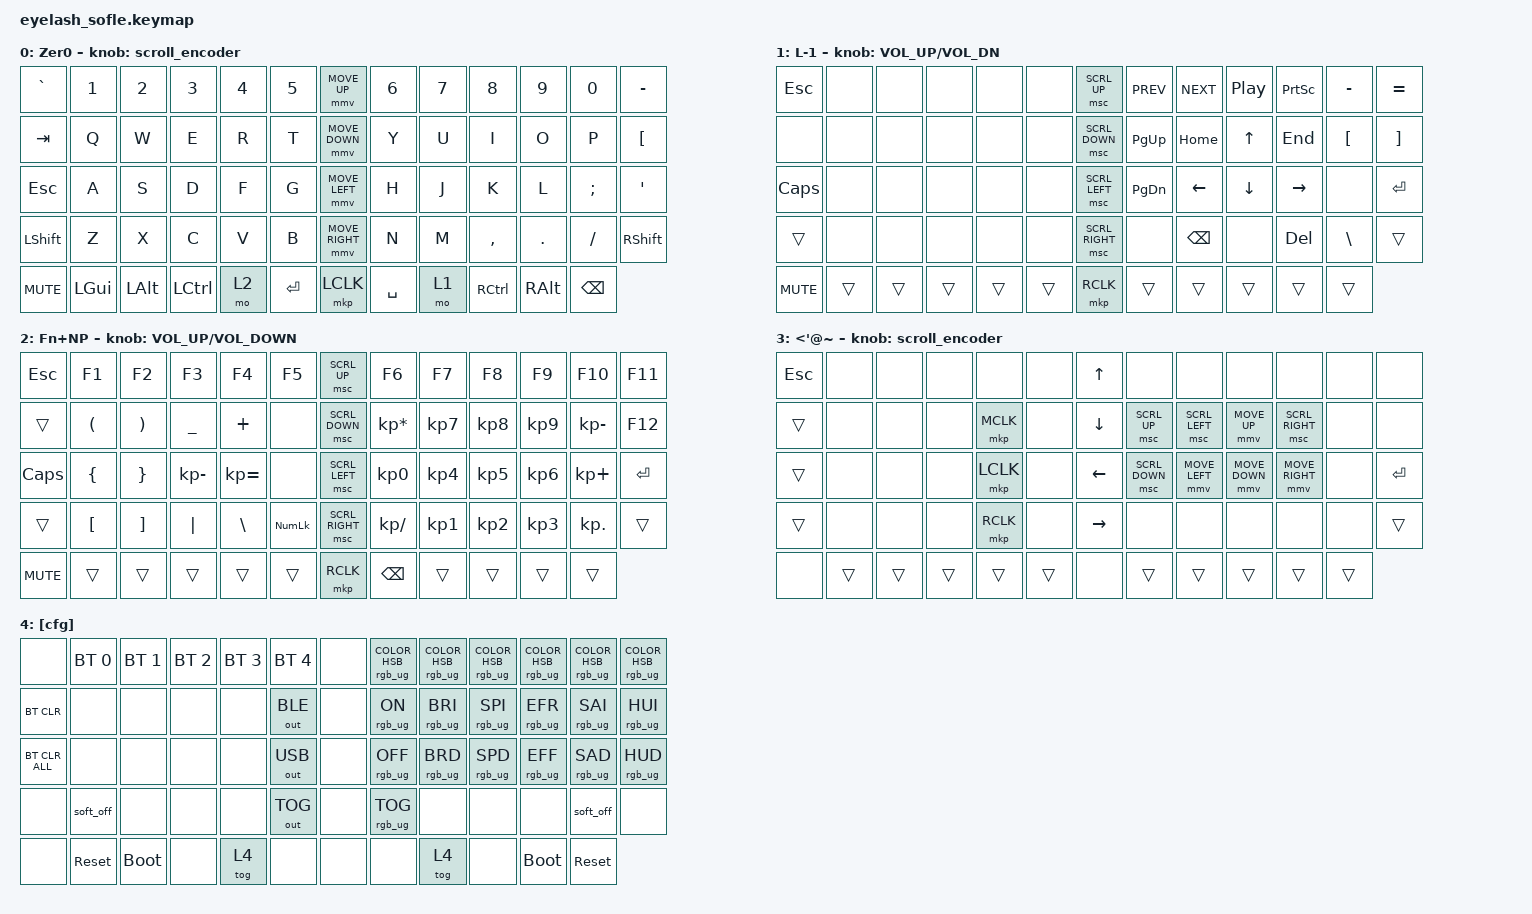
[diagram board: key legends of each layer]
#define ZMK_POINTING_DEFAULT_MOVE_VAL 700  // 600
#define ZMK_POINTING_DEFAULT_SCRL_VAL 15    // 10

#include <input/processors.dtsi>
#include <zephyr/dt-bindings/input/input-event-codes.h>
#include <behaviors.dtsi>
#include <dt-bindings/zmk/bt.h>
#include <dt-bindings/zmk/keys.h>
#include <dt-bindings/zmk/outputs.h>
#include <dt-bindings/zmk/pointing.h>
#include <dt-bindings/zmk/rgb.h>

/ {
    zip_scroll_scaler: zip_scroll_scaler {
        compatible = "zmk,input-processor-scaler";
        #input-processor-cells = <2>;
        type = <INPUT_EV_REL>;
        codes = <INPUT_REL_WHEEL INPUT_REL_HWHEEL>;
        track-remainders;
    };
};

&mmv_input_listener { input-processors = <&zip_xy_scaler 2 1>; };

&msc_input_listener { input-processors = <&zip_scroll_scaler 2 1>; };

&mmv {
    acceleration-exponent = <1>;
    time-to-max-speed-ms = <600>;
};

&msc {
    acceleration-exponent = <0>;      // 0
    time-to-max-speed-ms = <300>;     // 300
    delay-ms = <0>;                   // 0
};

/ {
    scroll_encoder: scroll_encoder {
        compatible = "zmk,behavior-sensor-rotate";
        #sensor-binding-cells = <0>;
        bindings = <&msc SCRL_DOWN>, <&msc SCRL_UP>;

        tap-ms = <100>;
    };

    conditional_layers {
        compatible = "zmk,conditional-layers";

        to-numpad {
            if-layers = <1 2>;
            then-layer = <3>;
        };
    };

    behaviors {
    };

    combos {
        compatible = "zmk,combos";

        tog-cfg-1 {
            bindings = <&tog 4>;
            key-positions = <61 59>;
            layers = <1>;
            timeout-ms = <200>;
        };

        tog-cfg-2 {
            bindings = <&tog 4>;
            key-positions = <57 55>;
            layers = <2>;
            timeout-ms = <200>;
        };
    };

    keymap {
        compatible = "zmk,keymap";

        layer_0 {
            display-name = "Zer0";
            bindings = <
&kp GRAVE   &kp N1        &kp N2        &kp N3            &kp N4  &kp N5       &mmv MOVE_UP     &kp N6     &kp N7  &kp N8             &kp N9         &kp N0         &kp MINUS
&kp TAB     &kp Q         &kp W         &kp E             &kp R   &kp T        &mmv MOVE_DOWN   &kp Y      &kp U   &kp I              &kp O          &kp P          &kp LEFT_BRACKET
&kp ESC     &kp A         &kp S         &kp D             &kp F   &kp G        &mmv MOVE_LEFT   &kp H      &kp J   &kp K              &kp L          &kp SEMI       &kp APOS
&kp LSHFT   &kp Z         &kp X         &kp C             &kp V   &kp B        &mmv MOVE_RIGHT  &kp N      &kp M   &kp COMMA          &kp DOT        &kp FSLH       &kp RSHIFT
&kp C_MUTE  &kp LEFT_GUI  &kp LEFT_ALT  &kp LEFT_CONTROL  &mo 2   &kp ENTER    &mkp LCLK        &kp SPACE  &mo 1   &kp RIGHT_CONTROL  &kp RIGHT_ALT  &kp BACKSPACE
            >;

            sensor-bindings = <&scroll_encoder>;
        };

        layer_1 {
            display-name = "L-1";
            bindings = <
&kp ESCAPE    &none   &none   &none   &none   &none     &msc SCRL_UP     &kp C_PREV     &kp C_NEXT      &kp C_PP        &kp PRINTSCREEN  &kp MINUS         &kp EQUAL
&none         &none   &none   &none   &none   &none     &msc SCRL_DOWN   &kp PAGE_UP    &kp HOME        &kp UP_ARROW    &kp END          &kp LEFT_BRACKET  &kp RIGHT_BRACKET
&kp CAPSLOCK  &none   &none   &none   &none   &none     &msc SCRL_LEFT   &kp PAGE_DOWN  &kp LEFT_ARROW  &kp DOWN_ARROW  &kp RIGHT_ARROW  &none             &kp ENTER
&trans        &none   &none   &none   &none   &none     &msc SCRL_RIGHT  &none          &kp BACKSPACE   &none           &kp DELETE       &kp BACKSLASH     &trans
&kp C_MUTE    &trans  &trans  &trans  &trans  &trans    &mkp RCLK        &trans         &trans          &trans          &trans           &trans
            >;

            sensor-bindings = <&inc_dec_kp C_VOLUME_UP C_VOL_DN>;
        };

        layer_2 {
            display-name = "Fn+NP";
            bindings = <
&kp ESCAPE    &kp F1                &kp F2                 &kp F3          &kp F4         &kp F5         &msc SCRL_UP     &kp F6           &kp F7     &kp F8     &kp F9     &kp F10       &kp F11
&trans        &kp LEFT_PARENTHESIS  &kp RIGHT_PARENTHESIS  &kp UNDERSCORE  &kp PLUS       &none          &msc SCRL_DOWN   &kp KP_MULTIPLY  &kp KP_N7  &kp KP_N8  &kp KP_N9  &kp KP_MINUS  &kp F12
&kp CAPSLOCK  &kp LEFT_BRACE        &kp RIGHT_BRACE        &kp KP_MINUS    &kp KP_EQUAL   &none          &msc SCRL_LEFT   &kp KP_N0        &kp KP_N4  &kp KP_N5  &kp KP_N6  &kp KP_PLUS   &kp ENTER
&trans        &kp LEFT_BRACKET      &kp RIGHT_BRACKET      &kp PIPE        &kp BACKSLASH  &kp KP_NLCK    &msc SCRL_RIGHT  &kp KP_SLASH     &kp KP_N1  &kp KP_N2  &kp KP_N3  &kp KP_DOT    &trans
&kp C_MUTE    &trans                &trans                 &trans          &trans         &trans         &mkp RCLK        &kp BACKSPACE    &trans     &trans     &trans     &trans
            >;

            sensor-bindings = <&inc_dec_kp C_VOLUME_UP C_VOLUME_DOWN>;
        };

        layer_mouse {
            display-name = "<'@~";
            bindings = <
&kp ESCAPE  &none   &none   &none   &none      &none     &kp UP_ARROW     &none           &none           &none           &none            &none   &none
&trans      &none   &none   &none   &mkp MCLK  &none     &kp DOWN_ARROW   &msc SCRL_UP    &msc SCRL_LEFT  &mmv MOVE_UP    &msc SCRL_RIGHT  &none   &none
&trans      &none   &none   &none   &mkp LCLK  &none     &kp LEFT_ARROW   &msc SCRL_DOWN  &mmv MOVE_LEFT  &mmv MOVE_DOWN  &mmv MOVE_RIGHT  &none   &kp ENTER
&trans      &none   &none   &none   &mkp RCLK  &none     &kp RIGHT_ARROW  &none           &none           &none           &none            &none   &trans
&none       &trans  &trans  &trans  &trans     &trans    &none            &trans          &trans          &trans          &trans           &trans
            >;

            sensor-bindings = <&scroll_encoder>;
        };

        layer_cfg {
            display-name = "[cfg]";
            bindings = <
&none           &bt BT_SEL 0  &bt BT_SEL 1  &bt BT_SEL 2  &bt BT_SEL 3  &bt BT_SEL 4    &none  &rgb_ug RGB_COLOR_HSB(0,100,50)  &rgb_ug RGB_COLOR_HSB(29,100,50)  &rgb_ug RGB_COLOR_HSB(59,100,50)  &rgb_ug RGB_COLOR_HSB(118,100,50)  &rgb_ug RGB_COLOR_HSB(232,100,50)  &rgb_ug RGB_COLOR_HSB(272,100,50)
&bt BT_CLR      &none         &none         &none         &none         &out OUT_BLE    &none  &rgb_ug RGB_ON                   &rgb_ug RGB_BRI                   &rgb_ug RGB_SPI                   &rgb_ug RGB_EFR                    &rgb_ug RGB_SAI                    &rgb_ug RGB_HUI
&bt BT_CLR_ALL  &none         &none         &none         &none         &out OUT_USB    &none  &rgb_ug RGB_OFF                  &rgb_ug RGB_BRD                   &rgb_ug RGB_SPD                   &rgb_ug RGB_EFF                    &rgb_ug RGB_SAD                    &rgb_ug RGB_HUD
&none           &soft_off     &none         &none         &none         &out OUT_TOG    &none  &rgb_ug RGB_TOG                  &none                             &none                             &none                              &soft_off                          &none
&none           &sys_reset    &bootloader   &none         &tog 4        &none           &none  &none                            &tog 4                            &none                             &bootloader                        &sys_reset
            >;
        };
    };
};
